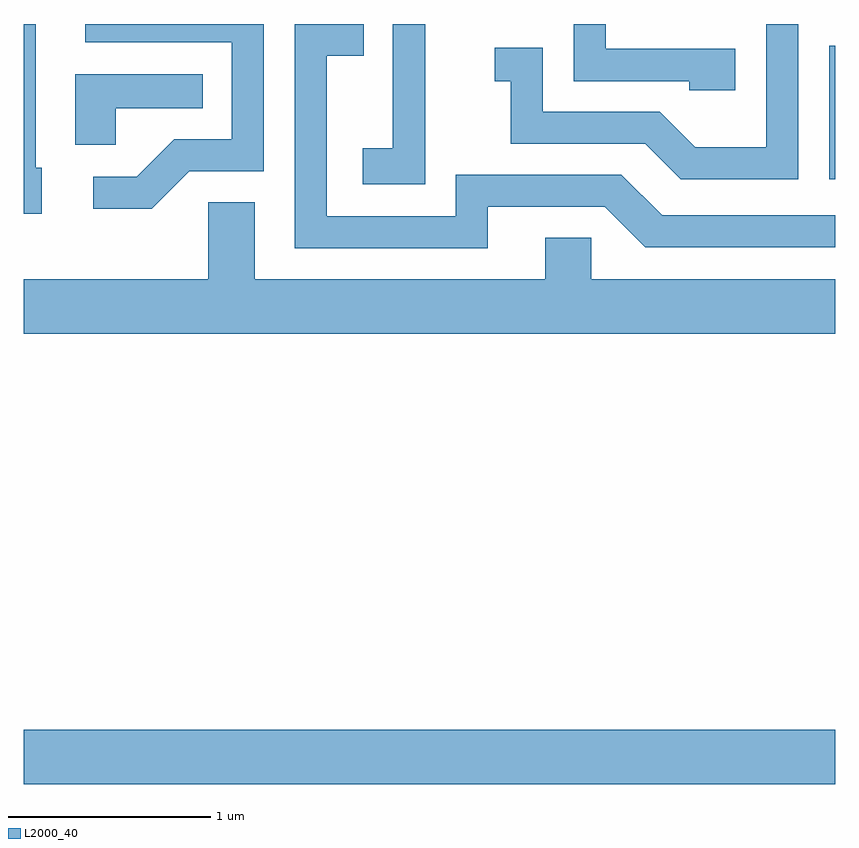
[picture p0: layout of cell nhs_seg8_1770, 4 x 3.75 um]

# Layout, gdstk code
import gdstk
lib = gdstk.Library(unit=1e-6, precision=1e-09)
def R(c, l, rs):  # rectangles x0, y0, x1, y1
    for r in rs: c.add(gdstk.rectangle(r[:2], r[2:], *l))
def P(c, l, *ps):  # polygons
    for p in ps: c.add(gdstk.Polygon(p, *l))
L2000_40 = (2000, 40)

nhs_seg8_1770 = lib.new_cell('nhs_seg8_1770')
R(nhs_seg8_1770, L2000_40, [(237.611,1878.596,241.611,1878.864), (241.581,1881.576,241.611,1882.234)])
P(nhs_seg8_1770, L2000_40, [(239.589,1882.342),(239.431,1882.342),(239.431,1881.729),(239.281,1881.729),(239.281,1881.551),(239.589,1881.551)],
  [(241.119,1882.219),(240.479,1882.219),(240.479,1882.342),(240.321,1882.342),(240.321,1882.061),(240.891,1882.061),(240.891,1882.016),(241.119,1882.016)],
  [(237.699,1881.634),(237.669,1881.634),(237.669,1882.342),(237.611,1882.342),(237.611,1881.406),(237.699,1881.406)],
  [(239.899,1881.441),(240.474,1881.441),(240.674,1881.241),(241.611,1881.241),(241.611,1881.399),(240.757,1881.399),(240.557,1881.599),(239.741,1881.599),(239.741,1881.394),(239.104,1881.394),(239.104,1882.186),(239.288,1882.186),(239.288,1882.342),(238.946,1882.342),(238.946,1881.236),(239.899,1881.236)],
  [(238.427,1881.616),(238.794,1881.616),(238.794,1882.342),(237.913,1882.342),(237.913,1882.251),(238.636,1882.251),(238.636,1881.774),(238.354,1881.774),(238.169,1881.589),(237.953,1881.589),(237.953,1881.431),(238.242,1881.431)],
  [(241.429,1882.342),(241.271,1882.342),(241.271,1881.734),(240.922,1881.734),(240.747,1881.909),(240.169,1881.909),(240.169,1882.224),(239.933,1882.224),(239.933,1882.061),(240.011,1882.061),(240.011,1881.751),(240.674,1881.751),(240.849,1881.576),(241.429,1881.576)],
  [(238.064,1881.926),(238.493,1881.926),(238.493,1882.094),(237.866,1882.094),(237.866,1881.746),(238.064,1881.746)],
  [(241.611,1881.084),(240.409,1881.084),(240.409,1881.289),(240.181,1881.289),(240.181,1881.084),(238.749,1881.084),(238.749,1881.464),(238.521,1881.464),(238.521,1881.084),(237.611,1881.084),(237.611,1880.816),(241.611,1880.816)])

lib.write_gds('nhs_seg8_1770.gds')
